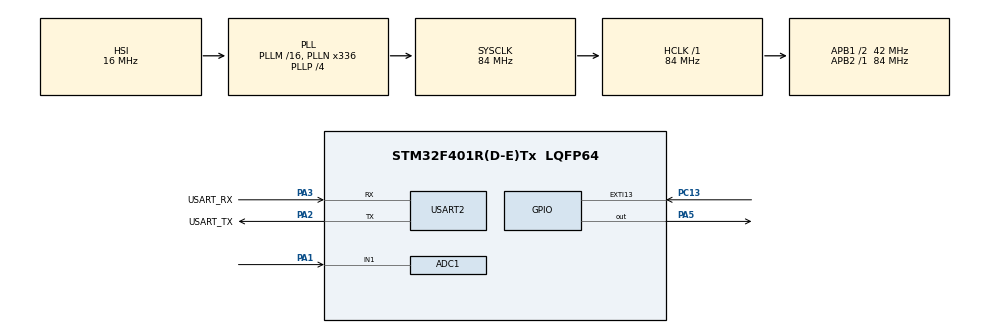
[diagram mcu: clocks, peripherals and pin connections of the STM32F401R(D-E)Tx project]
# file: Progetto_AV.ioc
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ADC1.Channel-1\#ChannelRegularConversion=ADC_CHANNEL_1
ADC1.NbrOfConversionFlag=1
ADC1.Rank-1\#ChannelRegularConversion=1
ADC1.SamplingTime-1\#ChannelRegularConversion=ADC_SAMPLETIME_3CYCLES
ADC1.master=1
Mcu.Family=STM32F4
Mcu.Name=STM32F401R(D-E)Tx
Mcu.Package=LQFP64
NVIC.EXTI15_10_IRQn=true\:0\:0\:false\:false\:true\:true\:true\:true
NVIC.PriorityGroup=NVIC_PRIORITYGROUP_0
PA1.Signal=ADCx_IN1
PA13.GPIO_Label=TMS
PA13.Signal=SYS_JTMS-SWDIO
PA14.GPIO_Label=TCK
PA14.Signal=SYS_JTCK-SWCLK
PA2.GPIO_Label=USART_TX
PA2.GPIO_Mode=GPIO_MODE_AF_PP
PA2.GPIO_PuPd=GPIO_NOPULL
PA2.GPIO_Speed=GPIO_SPEED_FREQ_LOW
PA2.Mode=Asynchronous
PA2.Signal=USART2_TX
PA3.GPIO_Label=USART_RX
PA3.GPIO_Mode=GPIO_MODE_AF_PP
PA3.GPIO_PuPd=GPIO_NOPULL
PA3.GPIO_Speed=GPIO_SPEED_FREQ_LOW
PA3.Mode=Asynchronous
PA3.Signal=USART2_RX
PA5.Signal=GPIO_Output
PB3.GPIO_Label=SWO
PB3.Signal=SYS_JTDO-SWO
PC13-ANTI_TAMP.GPIO_ModeDefaultEXTI=GPIO_MODE_IT_RISING_FALLING
PC13-ANTI_TAMP.Signal=GPXTI13
PC14-OSC32_IN.Signal=RCC_OSC32_IN
PC15-OSC32_OUT.Signal=RCC_OSC32_OUT
PH0\ -\ OSC_IN.Signal=RCC_OSC_IN
PH1\ -\ OSC_OUT.Signal=RCC_OSC_OUT
ProjectManager.HeapSize=0x200
ProjectManager.StackSize=0x400
ProjectManager.TargetToolchain=STM32CubeIDE
RCC.AHBFreq_Value=84000000
RCC.APB1CLKDivider=RCC_HCLK_DIV2
RCC.APB1Freq_Value=42000000
RCC.APB1TimFreq_Value=84000000
RCC.APB2Freq_Value=84000000
RCC.APB2TimFreq_Value=84000000
RCC.CortexFreq_Value=84000000
RCC.HCLKFreq_Value=84000000
RCC.HSE_VALUE=8000000
RCC.HSI_VALUE=16000000
RCC.LSE_VALUE=32768
RCC.PLLN=336
RCC.PLLP=RCC_PLLP_DIV4
RCC.PLLQ=7
RCC.SYSCLKFreq_VALUE=84000000
RCC.SYSCLKSource=RCC_SYSCLKSOURCE_PLLCLK
RCC.VCOOutputFreq_Value=336000000
SH.ADCx_IN1.0=ADC1_IN1,IN1
TIM2.CounterMode=TIM_COUNTERMODE_UP
TIM2.Period=799999
TIM2.Prescaler=999
USART2.VirtualMode=VM_ASYNC
VP_TIM2_VS_ClockSourceINT.Mode=Internal
board=NUCLEO-F401RE

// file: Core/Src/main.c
/* USER CODE BEGIN Header */
/**
 ******************************************************************************
 * @file           : main.c
 * @brief          : Main program body
 ******************************************************************************
 * @attention
 *
 * Copyright (c) 2024 STMicroelectronics.
 * All rights reserved.
 *
 * This software is licensed under terms that can be found in the LICENSE file
 * in the root directory of this software component.
 * If no LICENSE file comes with this software, it is provided AS-IS.
 *
 ******************************************************************************
 */
/* USER CODE END Header */
#include "main.h"

/* USER CODE BEGIN Includes */
uint16_t time=0;
int state=0;
int cont=0;
#define DATA_SIZE 35 // Dimensione dell'array dei dati
/* USER CODE END Includes */

ADC_HandleTypeDef hadc1;

TIM_HandleTypeDef htim2;

UART_HandleTypeDef huart2;

void SystemClock_Config(void);
static void MX_GPIO_Init(void);
static void MX_TIM2_Init(void);
static void MX_USART2_UART_Init(void);
static void MX_ADC1_Init(void);

int main(void)
{
	/* USER CODE BEGIN 1 */
	uint16_t signal[DATA_SIZE]; // Array per memorizzare i dati
	float sum, mean, variance, stddev;
	int dataCount = 0;  // Contatore per tracciare i dati inseriti
	/* USER CODE END 1 */

	/* MCU Configuration--------------------------------------------------------*/

	/* Reset of all peripherals, Initializes the Flash interface and the Systick. */
	HAL_Init();

	/* Configure the system clock */
	SystemClock_Config();

	/* Initialize all configured peripherals */
	MX_GPIO_Init();
	MX_TIM2_Init();
	MX_USART2_UART_Init();
	MX_ADC1_Init();

	/* Infinite loop */
	while (1)
	{

		/* USER CODE BEGIN 3 */

		if (HAL_GPIO_ReadPin(GPIOA, GPIO_PIN_5) == GPIO_PIN_SET){ //se il led è accesso lo stato è 1
			state=1;
		}
		else{
			state=0;
		}

		if(dataCount < DATA_SIZE)
		{
			HAL_ADC_Start(&hadc1);
			HAL_ADC_PollForConversion(&hadc1,1000);
			HAL_ADC_ConfigChannel(&hadc1, 0);
			signal[dataCount]=HAL_ADC_GetValue(&hadc1);
			HAL_ADC_Stop(&hadc1);
			/*
			char buffer[12];  // Buffer per la trasmissione UART, dimensione aumentata per sicurezza
			int length = sprintf(buffer, "%lu\r\n", signal[dataCount]);  // Usa %lu per formattare il valore ADC come unsigned long
			HAL_UART_Transmit(&huart2, (uint8_t *)buffer, length, 1000);
			*/
			sum += signal[dataCount];
			dataCount++;
			HAL_Delay(100); //10 hz

		}
		else if(dataCount==DATA_SIZE){
			// Calcolo della media
			mean = sum / DATA_SIZE;
			// Calcolo della varianza
			for (int i = 0; i < DATA_SIZE; ++i)
			{
				variance += pow(signal[i] - mean, 2);
			}
			variance /= DATA_SIZE;
			// Calcolo della deviazione standard
			stddev = sqrt(variance);

			char buffer[100];  // Buffer per la trasmissione UART
			int len = sprintf(buffer, "Mean: %.2f\r\n", mean);
			HAL_UART_Transmit(&huart2, (uint8_t *)buffer, len, 1000);
			len = sprintf(buffer, "Standard Deviation: %.2f\r\n", stddev);
			HAL_UART_Transmit(&huart2, (uint8_t *)buffer, len, 1000);

			dataCount=0;
			mean=0;
			sum=0;
			variance=0;

		}

	}
	/* USER CODE END 3 */
}

void SystemClock_Config(void)
{
	RCC_OscInitTypeDef RCC_OscInitStruct = {0};
	RCC_ClkInitTypeDef RCC_ClkInitStruct = {0};

	/** Configure the main internal regulator output voltage
	 */
	__HAL_RCC_PWR_CLK_ENABLE();
	__HAL_PWR_VOLTAGESCALING_CONFIG(PWR_REGULATOR_VOLTAGE_SCALE2);

	/** Initializes the RCC Oscillators according to the specified parameters
	 * in the RCC_OscInitTypeDef structure.
	 */
	RCC_OscInitStruct.OscillatorType = RCC_OSCILLATORTYPE_HSI;
	RCC_OscInitStruct.HSIState = RCC_HSI_ON;
	RCC_OscInitStruct.HSICalibrationValue = RCC_HSICALIBRATION_DEFAULT;
	RCC_OscInitStruct.PLL.PLLState = RCC_PLL_ON;
	RCC_OscInitStruct.PLL.PLLSource = RCC_PLLSOURCE_HSI;
	RCC_OscInitStruct.PLL.PLLM = 16;
	RCC_OscInitStruct.PLL.PLLN = 336;
	RCC_OscInitStruct.PLL.PLLP = RCC_PLLP_DIV4;
	RCC_OscInitStruct.PLL.PLLQ = 7;
	if (HAL_RCC_OscConfig(&RCC_OscInitStruct) != HAL_OK)
	{
		Error_Handler();
	}

	/** Initializes the CPU, AHB and APB buses clocks
	 */
	RCC_ClkInitStruct.ClockType = RCC_CLOCKTYPE_HCLK|RCC_CLOCKTYPE_SYSCLK
			|RCC_CLOCKTYPE_PCLK1|RCC_CLOCKTYPE_PCLK2;
	RCC_ClkInitStruct.SYSCLKSource = RCC_SYSCLKSOURCE_PLLCLK;
	RCC_ClkInitStruct.AHBCLKDivider = RCC_SYSCLK_DIV1;
	RCC_ClkInitStruct.APB1CLKDivider = RCC_HCLK_DIV2;
	RCC_ClkInitStruct.APB2CLKDivider = RCC_HCLK_DIV1;

	if (HAL_RCC_ClockConfig(&RCC_ClkInitStruct, FLASH_LATENCY_2) != HAL_OK)
	{
		Error_Handler();
	}
}

static void MX_ADC1_Init(void)
{

	ADC_ChannelConfTypeDef sConfig = {0};

	/** Configure the global features of the ADC (Clock, Resolution, Data Alignment and number of conversion)
	 */
	hadc1.Instance = ADC1;
	hadc1.Init.ClockPrescaler = ADC_CLOCK_SYNC_PCLK_DIV4;
	hadc1.Init.Resolution = ADC_RESOLUTION_12B;
	hadc1.Init.ScanConvMode = DISABLE;
	hadc1.Init.ContinuousConvMode = DISABLE;
	hadc1.Init.DiscontinuousConvMode = DISABLE;
	hadc1.Init.ExternalTrigConvEdge = ADC_EXTERNALTRIGCONVEDGE_NONE;
	hadc1.Init.ExternalTrigConv = ADC_SOFTWARE_START;
	hadc1.Init.DataAlign = ADC_DATAALIGN_RIGHT;
	hadc1.Init.NbrOfConversion = 1;
	hadc1.Init.DMAContinuousRequests = DISABLE;
	hadc1.Init.EOCSelection = ADC_EOC_SINGLE_CONV;
	if (HAL_ADC_Init(&hadc1) != HAL_OK)
	{
		Error_Handler();
	}

	/** Configure for the selected ADC regular channel its corresponding rank in the sequencer and its sample time.
	 */
	sConfig.Channel = ADC_CHANNEL_1;
	sConfig.Rank = 1;
	sConfig.SamplingTime = ADC_SAMPLETIME_3CYCLES;
	if (HAL_ADC_ConfigChannel(&hadc1, &sConfig) != HAL_OK)
	{
		Error_Handler();
	}

}

static void MX_TIM2_Init(void)
{

	TIM_ClockConfigTypeDef sClockSourceConfig = {0};
	TIM_MasterConfigTypeDef sMasterConfig = {0};

	htim2.Instance = TIM2;
	htim2.Init.Prescaler = 999;
	htim2.Init.CounterMode = TIM_COUNTERMODE_UP;
	htim2.Init.Period = 799999;
	htim2.Init.ClockDivision = TIM_CLOCKDIVISION_DIV1;
	htim2.Init.AutoReloadPreload = TIM_AUTORELOAD_PRELOAD_DISABLE;
	if (HAL_TIM_Base_Init(&htim2) != HAL_OK)
	{
		Error_Handler();
	}
	sClockSourceConfig.ClockSource = TIM_CLOCKSOURCE_INTERNAL;
	if (HAL_TIM_ConfigClockSource(&htim2, &sClockSourceConfig) != HAL_OK)
	{
		Error_Handler();
	}
	sMasterConfig.MasterOutputTrigger = TIM_TRGO_RESET;
	sMasterConfig.MasterSlaveMode = TIM_MASTERSLAVEMODE_DISABLE;
	if (HAL_TIMEx_MasterConfigSynchronization(&htim2, &sMasterConfig) != HAL_OK)
	{
		Error_Handler();
	}

}

static void MX_USART2_UART_Init(void)
{

	huart2.Instance = USART2;
	huart2.Init.BaudRate = 115200;
	huart2.Init.WordLength = UART_WORDLENGTH_8B;
	huart2.Init.StopBits = UART_STOPBITS_1;
	huart2.Init.Parity = UART_PARITY_NONE;
	huart2.Init.Mode = UART_MODE_TX_RX;
	huart2.Init.HwFlowCtl = UART_HWCONTROL_NONE;
	huart2.Init.OverSampling = UART_OVERSAMPLING_16;
	if (HAL_UART_Init(&huart2) != HAL_OK)
	{
		Error_Handler();
	}

}

static void MX_GPIO_Init(void)
{
	GPIO_InitTypeDef GPIO_InitStruct = {0};

	/* GPIO Ports Clock Enable */
	__HAL_RCC_GPIOC_CLK_ENABLE();
	__HAL_RCC_GPIOH_CLK_ENABLE();
	__HAL_RCC_GPIOA_CLK_ENABLE();
	__HAL_RCC_GPIOB_CLK_ENABLE();

	/*Configure GPIO pin Output Level */
	HAL_GPIO_WritePin(GPIOA, GPIO_PIN_5, GPIO_PIN_RESET);

	/*Configure GPIO pin : PC13 */
	GPIO_InitStruct.Pin = GPIO_PIN_13;
	GPIO_InitStruct.Mode = GPIO_MODE_IT_RISING_FALLING;
	GPIO_InitStruct.Pull = GPIO_NOPULL;
	HAL_GPIO_Init(GPIOC, &GPIO_InitStruct);

	/*Configure GPIO pin : PA5 */
	GPIO_InitStruct.Pin = GPIO_PIN_5;
	GPIO_InitStruct.Mode = GPIO_MODE_OUTPUT_PP;
	GPIO_InitStruct.Pull = GPIO_NOPULL;
	GPIO_InitStruct.Speed = GPIO_SPEED_FREQ_LOW;
	HAL_GPIO_Init(GPIOA, &GPIO_InitStruct);

	/* EXTI interrupt init*/
	HAL_NVIC_SetPriority(EXTI15_10_IRQn, 0, 0);
	HAL_NVIC_EnableIRQ(EXTI15_10_IRQn);

}

void Error_Handler(void)
{
	__disable_irq();
	while (1)
	{
	}
}
